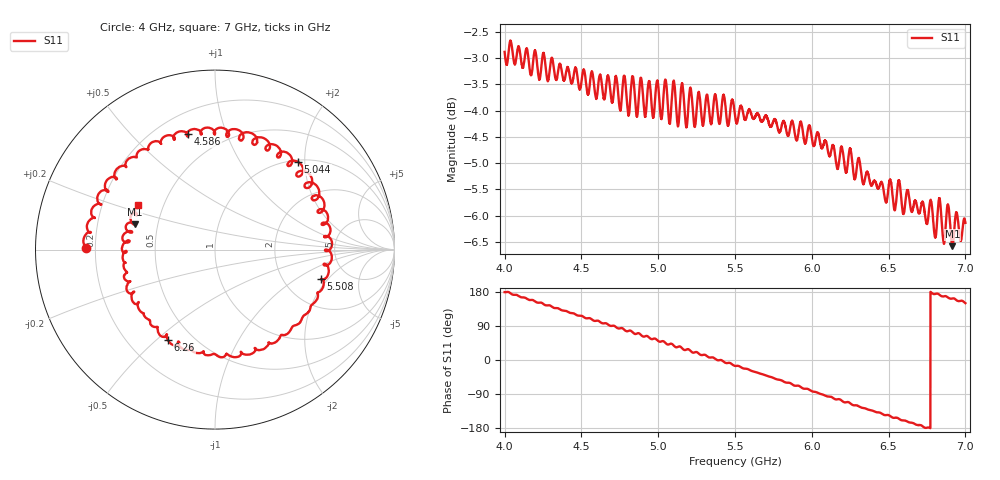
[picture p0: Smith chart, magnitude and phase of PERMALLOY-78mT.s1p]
#  HZ  S  RI  R  50.0
! Rohde & Schwarz ZVL13 2Ports - Version 3.31 - 1303.6509k13 SN: 101088
! Date: 2023-03-03 14:45:36
! Data & Calibration Information:
! Trc2:S21(TOSM)
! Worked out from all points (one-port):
!   4000 points, 4 GHz to 7 GHz, reference 50 ohm
!   lowest |S11| = -6.6 dB at 6.916 GHz (marker M1), VSWR 2.77, Z = 18.5 + j6.7 ohm
!   |S11| at or under -10 dB: nowhere
!   S11 on the Smith chart (normalised r, x): 4 GHz: 0.16, +0.01; 4.586 GHz: 0.32, +0.74; 5.044 GHz: 1.04, +1.85; 5.508 GHz: 3.21, -1.70; 6.26 GHz: 0.37, -0.55; 7 GHz: 0.36, +0.24
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4e9  -0.7172 0.0109
4.024006e9  -0.7132 0.00688
4.194299e9  -0.6556 0.2925
4.375094e9  -0.4469 0.5168
4.51838e9  -0.2628 0.6368
4.585896e9  -0.1512 0.6427
4.674419e9  -0.04 0.6799
4.750188e9  0.0729 0.629
4.777194e9  0.1107 0.6713
4.883721e9  0.2565 0.6255
5.043511e9  0.4624 0.4888
5.125281e9  0.5076 0.3433
5.16129e9  0.5807 0.318
5.186047e9  0.539 0.286
5.213803e9  0.6097 0.2531
5.31958e9  0.6436 0.1074
5.500375e9  0.6006 -0.1684
5.507877e9  0.5917 -0.1651
5.647412e9  0.5235 -0.3461
5.875469e9  0.2595 -0.5571
6.03976e9  0.0353 -0.5991
6.250563e9  -0.2384 -0.5289
6.260315e9  -0.2612 -0.5057
6.462116e9  -0.4295 -0.3192
6.625656e9  -0.5074 -0.1529
6.830458e9  -0.5159 0.0694
6.915979e9  -0.447 0.1416
7e9  -0.4273 0.2468
